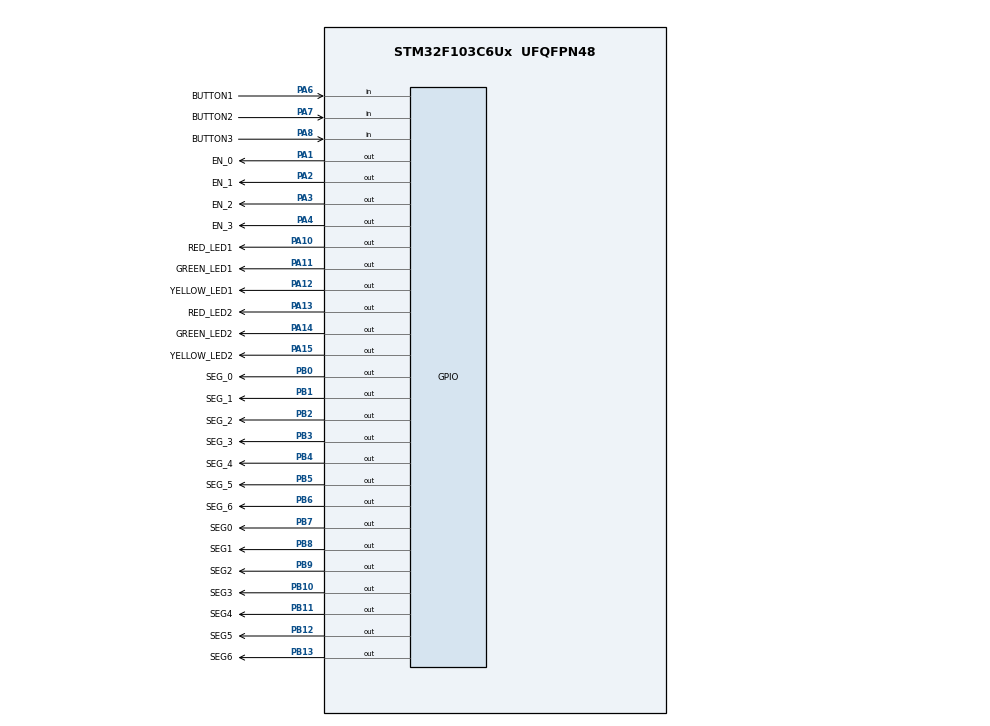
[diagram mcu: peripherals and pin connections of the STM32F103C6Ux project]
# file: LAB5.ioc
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Mcu.Family=STM32F1
Mcu.Name=STM32F103C6Ux
Mcu.Package=UFQFPN48
NVIC.PriorityGroup=NVIC_PRIORITYGROUP_4
NVIC.TIM2_IRQn=true\:0\:0\:false\:false\:true\:true\:true
PA1.GPIO_Label=EN_0
PA1.Signal=GPIO_Output
PA10.GPIO_Label=RED_LED1
PA10.Signal=GPIO_Output
PA11.GPIO_Label=GREEN_LED1
PA11.Signal=GPIO_Output
PA12.GPIO_Label=YELLOW_LED1
PA12.Signal=GPIO_Output
PA13.GPIO_Label=RED_LED2
PA13.Signal=GPIO_Output
PA14.GPIO_Label=GREEN_LED2
PA14.Signal=GPIO_Output
PA15.GPIO_Label=YELLOW_LED2
PA15.Signal=GPIO_Output
PA2.GPIO_Label=EN_1
PA2.Signal=GPIO_Output
PA3.GPIO_Label=EN_2
PA3.Signal=GPIO_Output
PA4.GPIO_Label=EN_3
PA4.Signal=GPIO_Output
PA6.GPIO_Label=BUTTON1
PA6.GPIO_PuPd=GPIO_PULLUP
PA6.Signal=GPIO_Input
PA7.GPIO_Label=BUTTON2
PA7.GPIO_PuPd=GPIO_PULLUP
PA7.Signal=GPIO_Input
PA8.GPIO_Label=BUTTON3
PA8.GPIO_PuPd=GPIO_PULLUP
PA8.Signal=GPIO_Input
PB0.GPIO_Label=SEG_0
PB0.Signal=GPIO_Output
PB1.GPIO_Label=SEG_1
PB1.Signal=GPIO_Output
PB10.GPIO_Label=SEG3
PB10.Signal=GPIO_Output
PB11.GPIO_Label=SEG4
PB11.Signal=GPIO_Output
PB12.GPIO_Label=SEG5
PB12.Signal=GPIO_Output
PB13.GPIO_Label=SEG6
PB13.Signal=GPIO_Output
PB2.GPIO_Label=SEG_2
PB2.Signal=GPIO_Output
PB3.GPIO_Label=SEG_3
PB3.Signal=GPIO_Output
PB4.GPIO_Label=SEG_4
PB4.Signal=GPIO_Output
PB5.GPIO_Label=SEG_5
PB5.Signal=GPIO_Output
PB6.GPIO_Label=SEG_6
PB6.Signal=GPIO_Output
PB7.GPIO_Label=SEG0
PB7.Signal=GPIO_Output
PB8.GPIO_Label=SEG1
PB8.Signal=GPIO_Output
PB9.GPIO_Label=SEG2
PB9.Signal=GPIO_Output
ProjectManager.HeapSize=0x200
ProjectManager.StackSize=0x400
ProjectManager.TargetToolchain=STM32CubeIDE
RCC.APB1Freq_Value=8000000
RCC.APB2Freq_Value=8000000
TIM2.Period=9
TIM2.Prescaler=7999
VP_SYS_VS_ND.Mode=No_Debug
VP_TIM2_VS_ClockSourceINT.Mode=Internal
board=custom

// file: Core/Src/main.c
/* USER CODE BEGIN Header */
/**
  ******************************************************************************
  * @file           : main.c
  * @brief          : Main program body
  ******************************************************************************
  * @attention
  *
  * <h2><center>&copy; Copyright (c) 2024 STMicroelectronics.
  * All rights reserved.</center></h2>
  *
  * This software component is licensed by ST under BSD 3-Clause license,
  * the "License"; You may not use this file except in compliance with the
  * License. You may obtain a copy of the License at:
  *                        opensource.org/licenses/BSD-3-Clause
  *
  ******************************************************************************
  */
/* USER CODE END Header */
#include "main.h"
#include "software_timer.h"
#include "global.h"
#include "fsm_manual.h"
#include "fsm_automatic.h"
#include "button.h"

TIM_HandleTypeDef htim2;

void SystemClock_Config(void);
static void MX_TIM2_Init(void);
static void MX_GPIO_Init(void);

int main(void)
{

  /* MCU Configuration--------------------------------------------------------*/

  /* Reset of all peripherals, Initializes the Flash interface and the Systick. */
  HAL_Init();

  /* Configure the system clock */
  SystemClock_Config();

  /* Initialize all configured peripherals */
  MX_TIM2_Init();
  MX_GPIO_Init();
  /* USER CODE BEGIN 2 */
  HAL_TIM_Base_Start_IT(&htim2);
  /* USER CODE END 2 */

  /* Infinite loop */
  /* USER CODE BEGIN WHILE */

 setTimer1(110);
 setTimer2(120);
 setTimer3(130);
 setTimer4(140);
 setTimer5(150);
 setTimer6(160);
 setTimer7(170);
 setTimer8(180);
 LED_STATE1=INIT_STATE;
 LED_STATE2=INIT_STATE;

  while (1)
  {
    /* USER CODE END WHILE */

    /* USER CODE BEGIN 3 */

	 fsm_manual_run();

  }
  /* USER CODE END 3 */
}

void SystemClock_Config(void)
{
  RCC_OscInitTypeDef RCC_OscInitStruct = {0};
  RCC_ClkInitTypeDef RCC_ClkInitStruct = {0};

  /** Initializes the RCC Oscillators according to the specified parameters
  * in the RCC_OscInitTypeDef structure.
  */
  RCC_OscInitStruct.OscillatorType = RCC_OSCILLATORTYPE_HSI;
  RCC_OscInitStruct.HSIState = RCC_HSI_ON;
  RCC_OscInitStruct.HSICalibrationValue = RCC_HSICALIBRATION_DEFAULT;
  RCC_OscInitStruct.PLL.PLLState = RCC_PLL_NONE;
  if (HAL_RCC_OscConfig(&RCC_OscInitStruct) != HAL_OK)
  {
    Error_Handler();
  }
  /** Initializes the CPU, AHB and APB buses clocks
  */
  RCC_ClkInitStruct.ClockType = RCC_CLOCKTYPE_HCLK|RCC_CLOCKTYPE_SYSCLK
                              |RCC_CLOCKTYPE_PCLK1|RCC_CLOCKTYPE_PCLK2;
  RCC_ClkInitStruct.SYSCLKSource = RCC_SYSCLKSOURCE_HSI;
  RCC_ClkInitStruct.AHBCLKDivider = RCC_SYSCLK_DIV1;
  RCC_ClkInitStruct.APB1CLKDivider = RCC_HCLK_DIV1;
  RCC_ClkInitStruct.APB2CLKDivider = RCC_HCLK_DIV1;

  if (HAL_RCC_ClockConfig(&RCC_ClkInitStruct, FLASH_LATENCY_0) != HAL_OK)
  {
    Error_Handler();
  }
}

static void MX_TIM2_Init(void)
{

  TIM_ClockConfigTypeDef sClockSourceConfig = {0};
  TIM_MasterConfigTypeDef sMasterConfig = {0};

  htim2.Instance = TIM2;
  htim2.Init.Prescaler = 7999;
  htim2.Init.CounterMode = TIM_COUNTERMODE_UP;
  htim2.Init.Period = 9;
  htim2.Init.ClockDivision = TIM_CLOCKDIVISION_DIV1;
  htim2.Init.AutoReloadPreload = TIM_AUTORELOAD_PRELOAD_DISABLE;
  if (HAL_TIM_Base_Init(&htim2) != HAL_OK)
  {
    Error_Handler();
  }
  sClockSourceConfig.ClockSource = TIM_CLOCKSOURCE_INTERNAL;
  if (HAL_TIM_ConfigClockSource(&htim2, &sClockSourceConfig) != HAL_OK)
  {
    Error_Handler();
  }
  sMasterConfig.MasterOutputTrigger = TIM_TRGO_RESET;
  sMasterConfig.MasterSlaveMode = TIM_MASTERSLAVEMODE_DISABLE;
  if (HAL_TIMEx_MasterConfigSynchronization(&htim2, &sMasterConfig) != HAL_OK)
  {
    Error_Handler();
  }

}

static void MX_GPIO_Init(void)
{
  GPIO_InitTypeDef GPIO_InitStruct = {0};

  /* GPIO Ports Clock Enable */
  __HAL_RCC_GPIOA_CLK_ENABLE();
  __HAL_RCC_GPIOB_CLK_ENABLE();

  /*Configure GPIO pin Output Level */
  HAL_GPIO_WritePin(GPIOA, EN_0_Pin|EN_1_Pin|EN_2_Pin|EN_3_Pin
                          |RED_LED1_Pin|GREEN_LED1_Pin|YELLOW_LED1_Pin|RED_LED2_Pin
                          |GREEN_LED2_Pin|YELLOW_LED2_Pin, GPIO_PIN_RESET);

  /*Configure GPIO pin Output Level */
  HAL_GPIO_WritePin(GPIOB, SEG_0_Pin|SEG_1_Pin|SEG_2_Pin|SEG3_Pin
                          |SEG4_Pin|SEG5_Pin|SEG6_Pin|SEG_3_Pin
                          |SEG_4_Pin|SEG_5_Pin|SEG_6_Pin|SEG0_Pin
                          |SEG1_Pin|SEG2_Pin, GPIO_PIN_RESET);

  /*Configure GPIO pins : EN_0_Pin EN_1_Pin EN_2_Pin EN_3_Pin
                           RED_LED1_Pin GREEN_LED1_Pin YELLOW_LED1_Pin RED_LED2_Pin
                           GREEN_LED2_Pin YELLOW_LED2_Pin */
  GPIO_InitStruct.Pin = EN_0_Pin|EN_1_Pin|EN_2_Pin|EN_3_Pin
                          |RED_LED1_Pin|GREEN_LED1_Pin|YELLOW_LED1_Pin|RED_LED2_Pin
                          |GREEN_LED2_Pin|YELLOW_LED2_Pin;
  GPIO_InitStruct.Mode = GPIO_MODE_OUTPUT_PP;
  GPIO_InitStruct.Pull = GPIO_NOPULL;
  GPIO_InitStruct.Speed = GPIO_SPEED_FREQ_LOW;
  HAL_GPIO_Init(GPIOA, &GPIO_InitStruct);

  /*Configure GPIO pins : BUTTON1_Pin BUTTON2_Pin BUTTON3_Pin */
  GPIO_InitStruct.Pin = BUTTON1_Pin|BUTTON2_Pin|BUTTON3_Pin;
  GPIO_InitStruct.Mode = GPIO_MODE_INPUT;
  GPIO_InitStruct.Pull = GPIO_PULLUP;
  HAL_GPIO_Init(GPIOA, &GPIO_InitStruct);

  /*Configure GPIO pins : SEG_0_Pin SEG_1_Pin SEG_2_Pin SEG3_Pin
                           SEG4_Pin SEG5_Pin SEG6_Pin SEG_3_Pin
                           SEG_4_Pin SEG_5_Pin SEG_6_Pin SEG0_Pin
                           SEG1_Pin SEG2_Pin */
  GPIO_InitStruct.Pin = SEG_0_Pin|SEG_1_Pin|SEG_2_Pin|SEG3_Pin
                          |SEG4_Pin|SEG5_Pin|SEG6_Pin|SEG_3_Pin
                          |SEG_4_Pin|SEG_5_Pin|SEG_6_Pin|SEG0_Pin
                          |SEG1_Pin|SEG2_Pin;
  GPIO_InitStruct.Mode = GPIO_MODE_OUTPUT_PP;
  GPIO_InitStruct.Pull = GPIO_NOPULL;
  GPIO_InitStruct.Speed = GPIO_SPEED_FREQ_LOW;
  HAL_GPIO_Init(GPIOB, &GPIO_InitStruct);

}

/* USER CODE BEGIN 4 */
void HAL_TIM_PeriodElapsedCallback(TIM_HandleTypeDef *htim)
{
	timerRun();
	    getKeyInput(0);
		getKeyInput(1);
		getKeyInput(2);
}
/* USER CODE END 4 */

void Error_Handler(void)
{
  __disable_irq();
  while (1)
  {
  }
}

/************************ (C) COPYRIGHT STMicroelectronics *****END OF FILE****/
